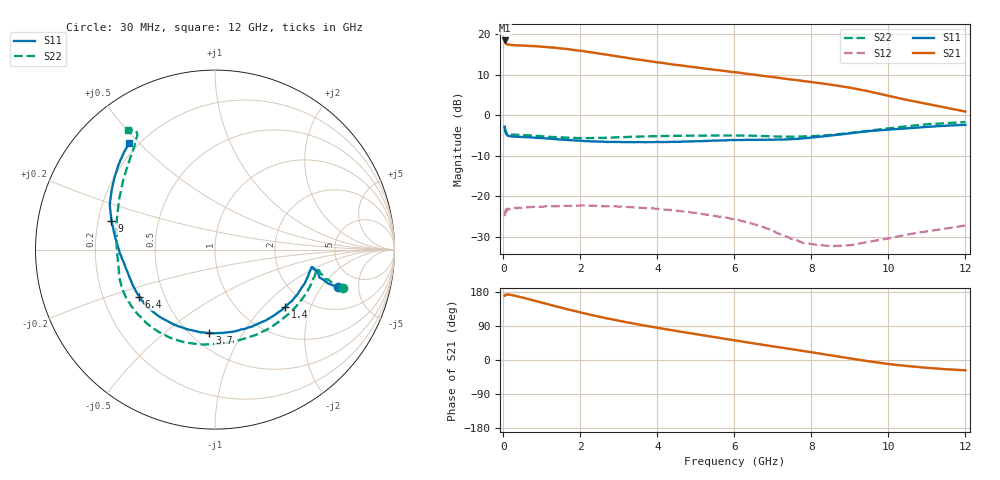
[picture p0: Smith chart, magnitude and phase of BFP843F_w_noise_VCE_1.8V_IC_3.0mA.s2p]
! Infineon Technologies  Discrete & RF Semiconductors
! BFP843F
! VCE =  1.8 V,  IC =  3.0 mA
! Common Emitter S-Parameters:  Aug 2013
# GHz  S  MA  R  50
!  f  S11  S21  S12  S22
! GHz  MAG  ANG  MAG  ANG  MAG  ANG  MAG  ANG
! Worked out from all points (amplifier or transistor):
!   103 points, 30 MHz to 12 GHz, reference 50 ohm
!   highest |S21| = 18.4 dB at 30 MHz (marker M1)
!   |S21| within 3 dB of that: start of sweep to 2.336 GHz
!   unconditionally stable (mu >= 1): 144.7 MHz to 606.3 MHz; 4.327 GHz to end of sweep
!   at 400 MHz: K = 1.01, MAG = 19.5 dB, |S12| = -22.8 dB
!   at 3.7 GHz: K = 0.95, MSG = 18.2 dB, |S12| = -22.9 dB
!   at 12 GHz: K = 1.58, MAG = 9.6 dB, |S12| = -27.2 dB
!   lowest NFmin = 0.93 dB at 450 MHz
!   S11 on the Smith chart (normalised r, x): 30 MHz: 3.40, -2.89; 1.4 GHz: 1.57, -1.35; 3.7 GHz: 0.61, -0.73; 6.4 GHz: 0.36, -0.25; 9 GHz: 0.26, +0.13; 12 GHz: 0.17, +0.47
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0.03  0.7138 -17.0  8.352 169.4  0.0569 36.9  0.7463 -16.8
0.04  0.6586 -16.7  8.036 169.6  0.0641 29.0  0.6906 -16.3
0.05  0.6229 -15.4  7.786 171.6  0.0623 23.2  0.6549 -14.9
0.07  0.5917 -13.2  7.58 172.2  0.066 20.7  0.6213 -13.2
0.15  0.5544 -10.4  7.397 172.6  0.0688 7.8  0.5835 -11.0
0.8  0.528 -23.4  7.118 156.7  0.0742 0.6  0.5581 -29.5
1.4  0.5056 -39.3  6.732 140.7  0.0755 -3.7  0.5349 -50.5
1.7  0.4941 -47.1  6.506 132.9  0.0765 -5.5  0.5275 -61.0
2.1  0.4802 -57.3  6.15 123.1  0.0771 -8.7  0.5222 -74.8
2.7  0.4679 -71.9  5.565 109.6  0.0756 -13.8  0.5274 -92.4
3.2  0.4658 -82.9  5.111 99.6  0.074 -17.6  0.5386 -104.6
3.7  0.465 -93.9  4.708 90.3  0.0714 -21.0  0.548 -114.3
4.1  0.4666 -102.8  4.44 83.3  0.0693 -23.8  0.5525 -121.6
5  0.4771 -121.5  3.894 68.2  0.0626 -30.2  0.5596 -136.4
6.1  0.4951 -142.5  3.35 50.4  0.0512 -37.6  0.5614 -153.9
6.4  0.4976 -148.0  3.211 45.5  0.0468 -39.2  0.5595 -158.6
7.7  0.5142 -172.4  2.683 25.2  0.0276 -32.1  0.5467 179.9
8.5  0.5611 172.8  2.384 12.4  0.0243 -10.6  0.5714 163.3
9  0.5986 164.5  2.186 4.3  0.0249 1.8  0.6033 152.3
10  0.6643 150.1  1.734 -10.6  0.0303 16.4  0.689 133.8
10.5  0.6895 144.3  1.538 -16.0  0.0339 21.7  0.7332 127.6
12  0.7622 128.8  1.109 -27.2  0.0437 27.7  0.8243 126.0
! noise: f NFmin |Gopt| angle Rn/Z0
0.45  0.93  0.25  10  0.08
0.9  0.95  0.25  20  0.09
1.5  1.04  0.25  27  0.09
1.9  1.09  0.24  40  0.09
2.4  1.14  0.23  53  0.1
3.5  1.23  0.24  79  0.17
5.5  1.35  0.23  133  0.27
10  2.24  0.43  -133  0.29
